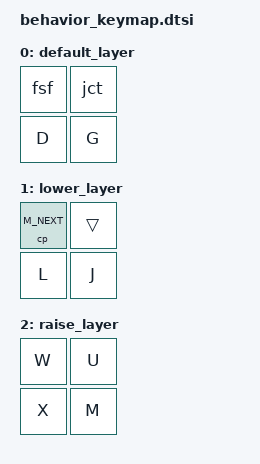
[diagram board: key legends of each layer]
#include <dt-bindings/zmk/keys.h>
#include <behaviors.dtsi>
#include <dt-bindings/zmk/kscan-mock.h>

/ {
	behaviors {
		fsf: behavior_f_shift {
			compatible = "zmk,behavior-tap-hold";
			label = "f-shift";
			#binding-cells = <0>;
			tapping_term_ms = <300>;
			bindings = <&kp F>, <&cp LSFT>;
		};
		
		jct: behavior_j_ctrl {
			compatible = "zmk,behavior-tap-hold";
			label = "j-ctrl";
			#binding-cells = <0>;
			tapping_term_ms = <300>;
			bindings = <&cp M_NEXT>, <&cp M_VOLU>;
		};
	};

	keymap {
		compatible = "zmk,keymap";
		label ="Default keymap";

		default_layer {
			bindings = <
				&fsf &jct
				&kp D &kp G>;
		};

		lower_layer {
			bindings = <
				&cp M_NEXT &trans
				&kp L  &kp J>;
		};

		raise_layer {
			bindings = <
				&kp W &kp U
				&kp X  &kp M>;
		};
	};
};
